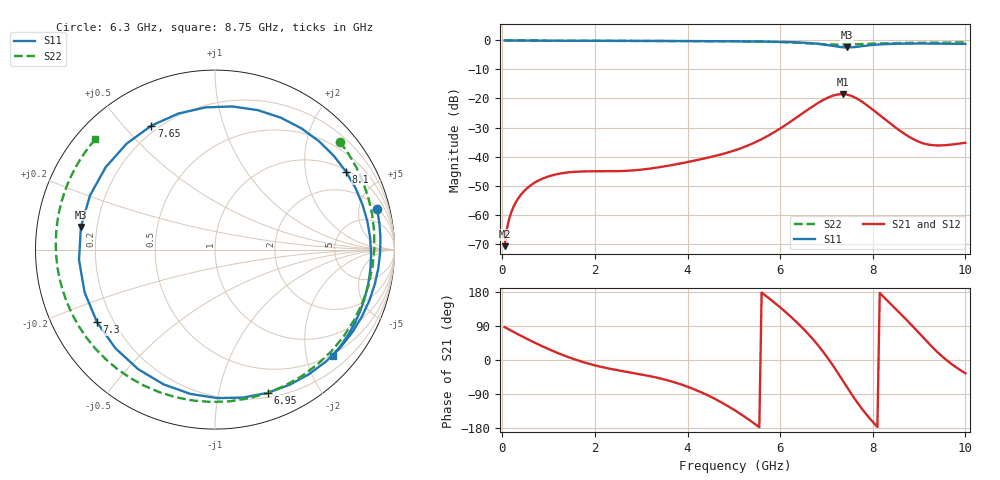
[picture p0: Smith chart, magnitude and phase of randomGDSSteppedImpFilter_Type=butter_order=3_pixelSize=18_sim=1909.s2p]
! freq	dB(S11)	phase(S11)	dB(S12)	phase(S12)
!  dB(S21)	phase(S21)	dB(S22)	phase(S22)
!S-par simulation data
#  GHz  S  DB  R 50
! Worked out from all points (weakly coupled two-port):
!   200 points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, 50 MHz to 10 GHz, reference 50 ohm
!   highest |S21| = -18.50 dB at 7.35 GHz (marker M1); lowest = -70.9 dB at 50 MHz (marker M2)
!   lowest |S11| = -2.4 dB at 7.45 GHz (marker M3), VSWR 7.26, Z = 6.93 + j4.12 ohm
!   |S11| at or under -10 dB: nowhere
!   |S22| runs from -1.4 to 0.0 dB; largest |S21 - S12| = 0
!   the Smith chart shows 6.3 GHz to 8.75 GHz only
!   S11 on the Smith chart (normalised r, x): 6.3 GHz: 2.23, +7.51; 6.95 GHz: 0.24, -1.40; 7.3 GHz: 0.14, -0.28; 7.65 GHz: 0.17, +0.60; 8.1 GHz: 1.06, +3.32; 8.75 GHz: 0.47, -2.53
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0.05  -0.00 -3.5  -70.88 86.7  -70.88 86.7  -0.00 -3.1
0.2  -0.02 -14.0  -58.94 76.9  -58.94 76.9  -0.02 -12.2
0.5  -0.05 -34.6  -51.44 57.8  -51.44 57.8  -0.04 -30.2
1.1  -0.09 -73.0  -46.38 23.4  -46.38 23.4  -0.08 -64.3
1.75  -0.12 -109.3  -45.13 -5.6  -45.13 -5.6  -0.11 -97.2
2.55  -0.14 -147.6  -45.01 -28.3  -45.01 -28.3  -0.13 -132.4
3.4  -0.17 175.8  -43.66 -48.3  -43.66 -48.3  -0.16 -165.8
5.05  -0.29 100.4  -37.71 -135.0  -37.71 -135.0  -0.29 126.6
5.75  -0.41 58.2  -32.74 163.8  -32.74 163.8  -0.44 86.7
6.3  -0.62 14.0  -27.15 106.4  -27.15 106.4  -0.73 40.8
6.7  -0.98 -30.9  -22.75 55.9  -22.75 55.9  -1.08 -6.2
6.95  -1.41 -69.9  -20.35 18.1  -20.35 18.1  -1.30 -41.2
7.3  -2.25 -148.3  -18.52 -44.2  -18.52 -44.2  -1.42 -91.3
7.35  -2.33 -161.9  -18.50 -53.7  -18.50 -53.7  -1.41 -98.0
7.45  -2.41 170.4  -18.70 -72.9  -18.70 -72.9  -1.38 -111.1
7.65  -2.20 117.2  -19.96 -109.5  -19.96 -109.5  -1.29 -134.9
7.85  -1.80 73.0  -22.04 -141.9  -22.04 -141.9  -1.17 -155.8
8.1  -1.42 30.8  -25.12 -176.6  -25.12 -176.6  -1.05 -178.2
8.35  -1.21 -1.6  -28.27 152.4  -28.27 152.4  -0.96 162.8
8.75  -1.08 -42.0  -32.85 103.4  -32.85 103.4  -0.85 137.3
9.3  -1.09 -85.3  -36.10 32.2  -36.10 32.2  -0.75 108.0
10  -1.19 -130.2  -35.25 -35.0  -35.25 -35.0  -0.69 75.8
